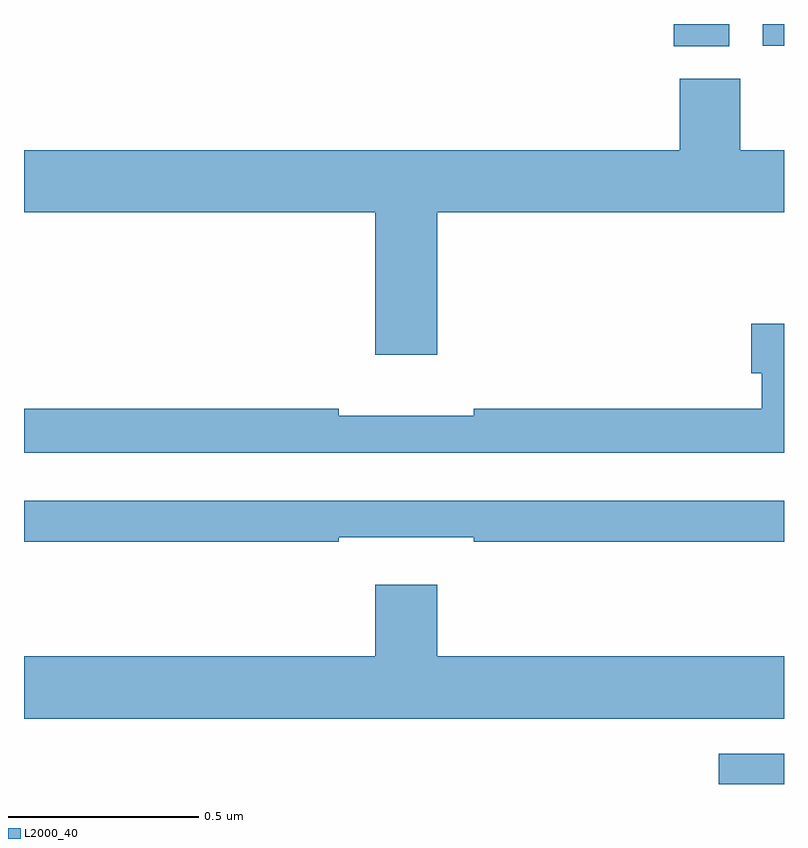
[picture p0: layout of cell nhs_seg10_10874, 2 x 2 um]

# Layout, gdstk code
import gdstk
lib = gdstk.Library(unit=1e-6, precision=1e-09)
def R(c, l, rs):  # rectangles x0, y0, x1, y1
    for r in rs: c.add(gdstk.rectangle(r[:2], r[2:], *l))
def P(c, l, *ps):  # polygons
    for p in ps: c.add(gdstk.Polygon(p, *l))
L2000_40 = (2000, 40)

nhs_seg10_10874 = lib.new_cell('nhs_seg10_10874')
R(nhs_seg10_10874, L2000_40, [(249.828,1277.5,250,1277.58), (249.71,1279.441,249.856,1279.5), (249.944,1279.443,250,1279.5)])
P(nhs_seg10_10874, L2000_40, [(249.088,1279.004),(250,1279.004),(250,1279.168),(249.885,1279.168),(249.885,1279.356),(249.725,1279.356),(249.725,1279.168),(248,1279.168),(248,1279.004),(248.924,1279.004),(248.924,1278.63),(249.088,1278.63)],
  [(250,1278.711),(249.914,1278.711),(249.914,1278.581),(249.941,1278.581),(249.941,1278.488),(249.184,1278.488),(249.184,1278.469),(248.828,1278.469),(248.828,1278.488),(248,1278.488),(248,1278.372),(250,1278.372)],
  [(248.828,1278.15),(249.184,1278.15),(249.184,1278.138),(250,1278.138),(250,1278.246),(248,1278.246),(248,1278.138),(248.828,1278.138)],
  [(250,1277.836),(249.088,1277.836),(249.088,1278.025),(248.924,1278.025),(248.924,1277.836),(248,1277.836),(248,1277.672),(250,1277.672)])

lib.write_gds('nhs_seg10_10874.gds')
